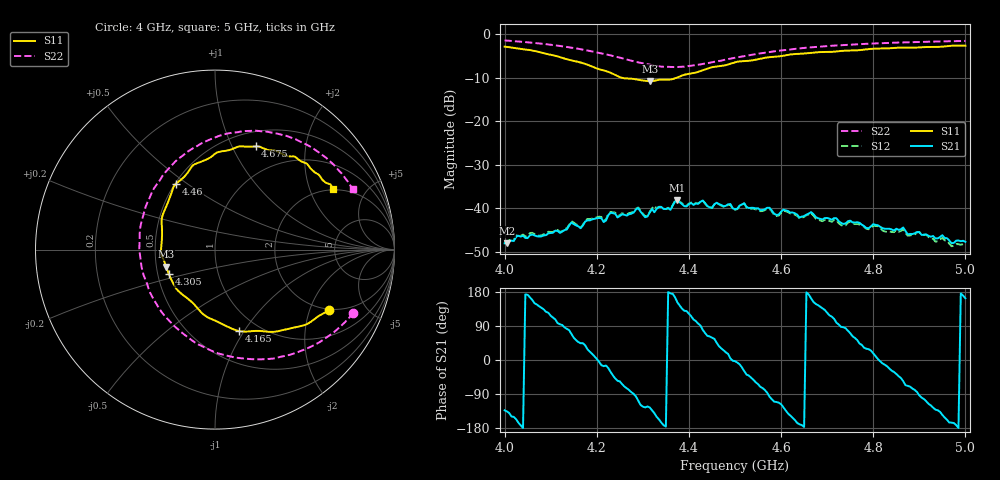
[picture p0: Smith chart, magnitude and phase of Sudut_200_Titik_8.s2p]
# Hz S RI R 50
! CMT, C1220, 16058040, 17.2.0/1
! Date: 15/08/2018 11:42:54
! Data: Format (Calibration Info)
! Freq  S11: Re/Im (F2)  S21: Re/Im (F2)  S12: Re/Im (F2)  S22: Re/Im (F2)
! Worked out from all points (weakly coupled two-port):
!   201 points, 4 GHz to 5 GHz, reference 50 ohm
!   highest |S21| = -38.17 dB at 4.375 GHz (marker M1); lowest = -48.1 dB at 4.005 GHz (marker M2)
!   lowest |S11| = -10.8 dB at 4.315 GHz (marker M3), VSWR 1.81, Z = 28.2 - j5.85 ohm
!   |S11| at or under -10 dB: 4.254 GHz to 4.374 GHz (119.6 MHz wide, 2.77 % of centre)
!   |S22| runs from -7.6 to -1.4 dB; largest |S21 - S12| = 0.0019
!   S11 on the Smith chart (normalised r, x): 4 GHz: 1.97, -2.74; 4.165 GHz: 0.81, -0.95; 4.305 GHz: 0.57, -0.17; 4.46 GHz: 0.51, +0.45; 4.675 GHz: 0.66, +1.24; 5 GHz: 1.97, +2.91
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4e9  0.6367 -0.3362  -0.00268 -0.00289  -0.00268 -0.00305  0.7705 -0.3525
4.005e9  0.6277 -0.3425  -0.00282 -0.00274  -0.00275 -0.00286  0.7618 -0.364
4.025e9  0.5831 -0.3668  -0.0043 -0.00188  -0.00438 -0.00209  0.7223 -0.4062
4.125e9  0.2799 -0.456  -0.000217 0.00538  -0.000329 0.00543  0.438 -0.5797
4.145e9  0.2078 -0.454  0.00249 0.0064  0.00241 0.00668  0.3623 -0.598
4.165e9  0.1326 -0.4537  0.00422 0.0041  0.0042 0.00424  0.2835 -0.6101
4.17e9  0.1168 -0.4493  0.00453 0.00443  0.00453 0.00459  0.2627 -0.611
4.29e9  -0.2332 -0.1871  -0.00298 -0.00958  -0.00306 -0.00972  -0.2463 -0.4054
4.305e9  -0.2573 -0.1361  -0.00453 -0.00643  -0.00468 -0.00657  -0.2956 -0.3503
4.315e9  -0.2723 -0.0953  -0.00518 -0.00731  -0.00536 -0.00732  -0.3243 -0.3064
4.335e9  -0.2977 -0.0296  -0.00945 -0.00408  -0.00959 -0.00397  -0.3715 -0.2141
4.36e9  -0.296 0.0574  -0.00956 0.000688  -0.00957 0.000755  -0.4099 -0.0917
4.375e9  -0.2952 0.1179  -0.0109 0.00576  -0.011 0.00597  -0.4191 -0.0211
4.395e9  -0.2945 0.1826  -0.00659 0.00816  -0.00658 0.00835  -0.4198 0.0789
4.46e9  -0.2185 0.3651  0.00804 0.00831  0.00818 0.00804  -0.3256 0.3617
4.5e9  -0.1348 0.4553  0.00971 -0.000521  0.00954 -0.000557  -0.2249 0.4868
4.52e9  -0.1043 0.4796  0.00995 -0.00559  0.0098 -0.00568  -0.1675 0.5335
4.59e9  0.0529 0.5495  -0.00296 -0.00781  -0.00292 -0.00759  0.0404 0.6384
4.67e9  0.2179 0.5743  -0.00769 0.00383  -0.00731 0.00385  0.2604 0.6587
4.675e9  0.2258 0.5753  -0.00673 0.00418  -0.00637 0.00416  0.2729 0.6588
4.835e9  0.4834 0.4903  0.00535 -0.00224  0.00501 -0.00197  0.5868 0.5357
5e9  0.6562 0.3371  -0.00392 0.00121  -0.00372 0.000924  0.7668 0.3369
